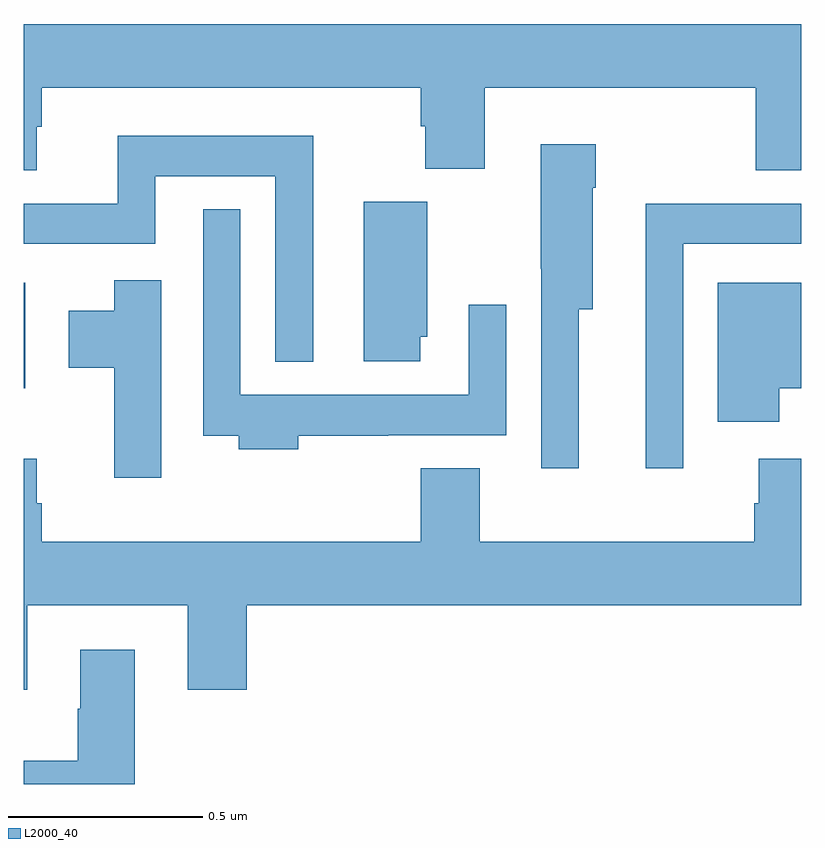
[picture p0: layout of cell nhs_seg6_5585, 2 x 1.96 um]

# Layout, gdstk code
import gdstk
lib = gdstk.Library(unit=1e-6, precision=1e-09)
def R(c, l, rs):  # rectangles x0, y0, x1, y1
    for r in rs: c.add(gdstk.rectangle(r[:2], r[2:], *l))
def P(c, l, *ps):  # polygons
    for p in ps: c.add(gdstk.Polygon(p, *l))
L2000_40 = (2000, 40)

nhs_seg6_5585 = lib.new_cell('nhs_seg6_5585')
R(nhs_seg6_5585, L2000_40, [(184,990.518,184.003,990.79)])
P(nhs_seg6_5585, L2000_40, [(184.033,991.191),(184.046,991.191),(184.046,991.292),(185.021,991.292),(185.021,991.193),(185.033,991.193),(185.033,991.084),(185.186,991.084),(185.186,991.292),(185.884,991.292),(185.884,991.079),(186,991.079),(186,991.456),(184,991.456),(184,991.079),(184.033,991.079)],
  [(184.744,991.168),(184.241,991.168),(184.241,990.994),(184,990.994),(184,990.89),(184.338,990.89),(184.338,991.064),(184.647,991.064),(184.647,990.587),(184.744,990.587)],
  [(185.428,990.722),(185.464,990.722),(185.464,991.034),(185.472,991.034),(185.472,991.147),(185.33,991.147),(185.33,990.826),(185.331,990.826),(185.331,990.312),(185.428,990.312)],
  [(185.02,990.651),(185.038,990.651),(185.038,990.999),(184.874,990.999),(184.874,990.588),(185.02,990.588)],
  [(185.697,990.89),(186,990.89),(186,990.994),(185.6,990.994),(185.6,990.312),(185.697,990.312)],
  [(184.706,990.396),(184.937,990.396),(184.937,990.398),(185.241,990.398),(185.241,990.733),(185.145,990.733),(185.145,990.502),(184.557,990.502),(184.557,990.979),(184.461,990.979),(184.461,990.396),(184.553,990.396),(184.553,990.362),(184.706,990.362)],
  [(184.354,990.796),(184.232,990.796),(184.232,990.718),(184.115,990.718),(184.115,990.571),(184.232,990.571),(184.232,990.288),(184.354,990.288)],
  [(185.944,990.518),(186,990.518),(186,990.79),(185.786,990.79),(185.786,990.432),(185.944,990.432)],
  [(184.009,989.96),(184.421,989.96),(184.421,989.742),(184.574,989.742),(184.574,989.96),(186,989.96),(186,990.337),(185.891,990.337),(185.891,990.222),(185.879,990.222),(185.879,990.124),(185.173,990.124),(185.173,990.313),(185.021,990.313),(185.021,990.124),(184.046,990.124),(184.046,990.222),(184.033,990.222),(184.033,990.337),(184,990.337),(184,989.742),(184.009,989.742)],
  [(184.285,989.845),(184.145,989.845),(184.145,989.694),(184.138,989.694),(184.138,989.56),(184,989.56),(184,989.5),(184.285,989.5)])

lib.write_gds('nhs_seg6_5585.gds')
